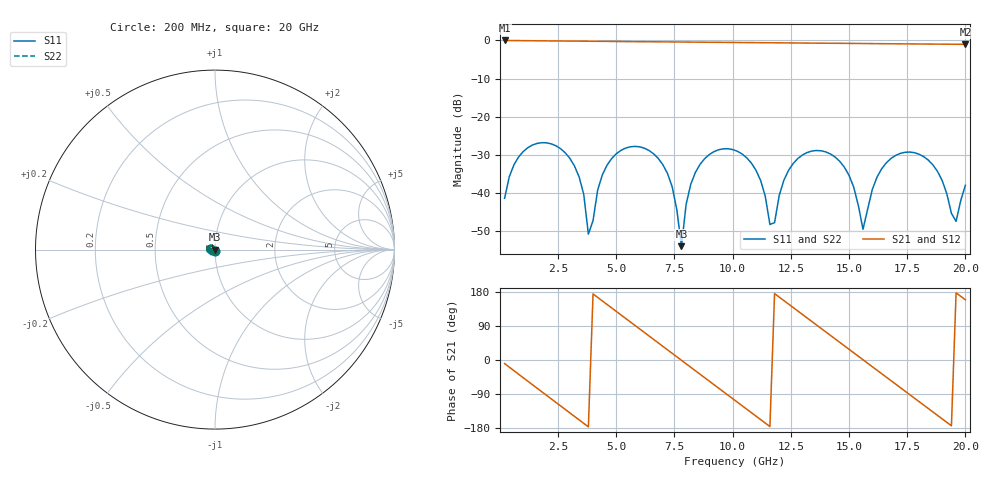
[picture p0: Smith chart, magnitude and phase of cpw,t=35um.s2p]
! Created Wed Jun  1 10:18:04 2022
# hz S ma R 50
! 2 Port Network Data from SP1.SP block
! freq  magS11  angS11  magS21  angS21  magS12  angS12  magS22  angS22
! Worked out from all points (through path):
!   100 points, 200 MHz to 20 GHz, reference 50 ohm
!   highest |S21| = -0.02 dB at 200 MHz (marker M1); lowest = -1.0 dB at 20 GHz (marker M2)
!   group delay of S21, straight-line fit = 128 ps
!   lowest |S11| = -54.0 dB at 7.8 GHz (marker M3), VSWR 1.00, Z = 49.8 - j0.0263 ohm
!   |S11| at or under -10 dB: start of sweep to end of sweep
!   |S22| runs from -54.0 to -26.8 dB; largest |S21 - S12| = 0
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2e8  0.008508 -101.2  0.9979 -9.5  0.9979 -9.5  0.008508 -101.2
1.8e9  0.04558 179.9  0.9863 -83.9  0.9863 -83.9  0.04558 179.9
3.6e9  0.009607 101.6  0.9765 -167.2  0.9765 -167.2  0.009607 101.6
3.8e9  0.002881 108.1  0.9753 -176.4  0.9753 -176.4  0.002881 108.1
4.4e9  0.01726 -125.3  0.9715 155.9  0.9715 155.9  0.01726 -125.3
5.4e9  0.03872 -168.8  0.9651 109.7  0.9651 109.7  0.03872 -168.8
6.8e9  0.02841 129.5  0.9576 45.2  0.9576 45.2  0.02841 129.5
7.4e9  0.01207 107.7  0.9545 17.6  0.9545 17.6  0.01207 107.7
7.8e9  0.002004 -172.4  0.9522 -0.8  0.9522 -0.8  0.002004 -172.4
8e9  0.007097 -124.2  0.9511 -10.1  0.9511 -10.1  0.007097 -124.2
8.6e9  0.02372 -140.1  0.9474 -37.7  0.9474 -37.7  0.02372 -140.1
1.02e10  0.0352 151.4  0.9384 -111.2  0.9384 -111.2  0.0352 151.4
1.12e10  0.0146 113.2  0.9334 -157.2  0.9334 -157.2  0.0146 113.2
1.16e10  0.003858 128.3  0.9313 -175.6  0.9313 -175.6  0.003858 128.3
1.24e10  0.01974 -138.2  0.9267 147.6  0.9267 147.6  0.01974 -138.2
1.34e10  0.03537 -178.4  0.921 101.7  0.921 101.7  0.03537 -178.4
1.48e10  0.02172 124.8  0.9141 37.4  0.9141 37.4  0.02172 124.8
1.56e10  0.003333 163.9  0.91 0.7  0.91 0.7  0.003333 163.9
1.68e10  0.02825 -158.0  0.9033 -54.4  0.9033 -54.4  0.02825 -158.0
1.84e10  0.02703 137.6  0.8953 -127.7  0.8953 -127.7  0.02703 137.6
1.96e10  0.00424 -170.0  0.8894 177.2  0.8894 177.2  0.00424 -170.0
2e10  0.01261 -137.9  0.8872 158.9  0.8872 158.9  0.01261 -137.9
